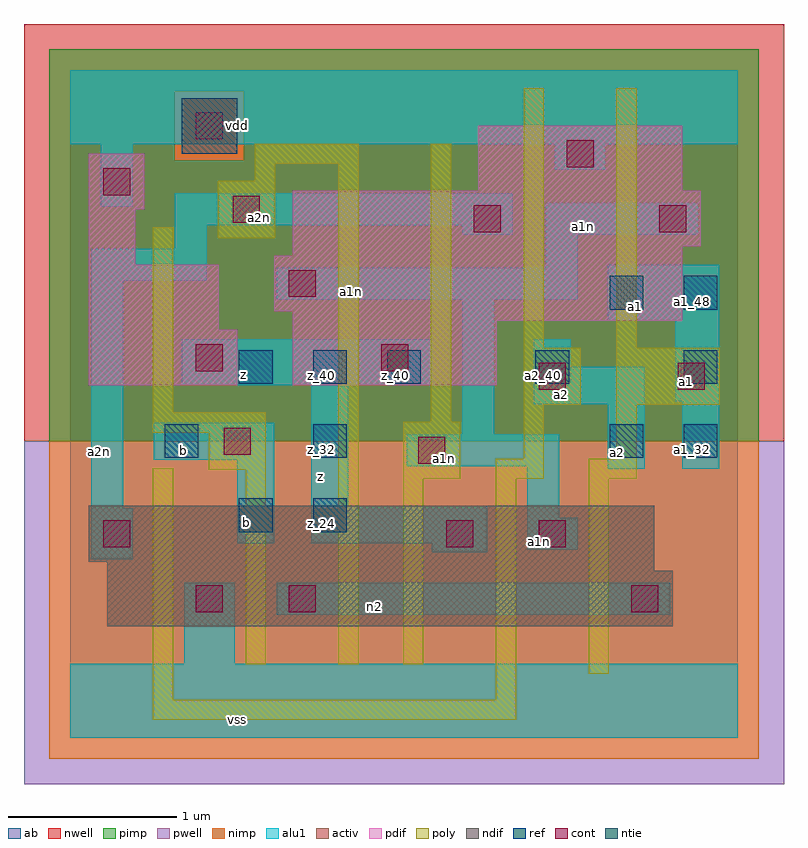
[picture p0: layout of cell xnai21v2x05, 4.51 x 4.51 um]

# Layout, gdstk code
import gdstk
lib = gdstk.Library(unit=1e-6, precision=2.5e-09)
def R(c, l, rs):  # rectangles x0, y0, x1, y1
    for r in rs: c.add(gdstk.rectangle(r[:2], r[2:], *l))
def A(c, l, x, y, w, h, nx, ny, dx, dy):  # array of equal rectangles
    R(c, l, [(x+i*dx, y+j*dy, x+i*dx+w, y+j*dy+h) for i in range(nx) for j in range(ny)])
ndif = (3, 0)
pdif = (4, 0)
ntie = (5, 0)
ref = (24, 0)
cont = (25, 0)
pwell = (41, 0)
nwell = (42, 0)
activ = (43, 0)
pimp = (44, 0)
nimp = (45, 0)
poly = (46, 0)
alu1 = (49, 0)
ab = (63, 0)

xnai21v2x05 = lib.new_cell('xnai21v2x05')
R(xnai21v2x05, ndif, [(0.22,0.66,3.575,0.99), (0.22,0.99,3.465,1.045), (0.11,1.045,3.465,1.375)])
R(xnai21v2x05, pdif, [(0.11,2.09,0.99,2.42), (1.32,2.09,2.53,2.475), (0.11,2.42,0.88,2.805), (1.32,2.475,3.63,2.53), (1.21,2.53,3.63,2.86), (0.11,2.805,0.385,3.135), (1.32,2.86,3.63,2.915), (1.32,2.915,3.74,3.245), (0.11,3.135,0.44,3.465), (2.42,3.245,3.63,3.63)])
R(xnai21v2x05, ntie, [(0.66,3.465,0.99,3.795)])
A(xnai21v2x05, ref, 3.64, 1.66, 0.2, 0.2, 1, 3, 0, 0.44)
A(xnai21v2x05, ref, 1, 2.1, 0.2, 0.2, 3, 1, 0.44, 0)
R(xnai21v2x05, ref, [(1,1.22,1.2,1.42), (1.44,1.22,1.64,1.42), (0.56,1.66,0.76,1.86), (1.44,1.66,1.64,1.86), (3.2,1.66,3.4,1.86), (2.76,2.1,2.96,2.3), (3.2,2.54,3.4,2.74)])
R(xnai21v2x05, cont, [(0.745,0.745,0.905,0.905), (1.295,0.745,1.455,0.905), (3.33,0.745,3.49,0.905), (0.195,1.13,0.355,1.29), (2.23,1.13,2.39,1.29), (2.78,1.13,2.94,1.29), (2.065,1.625,2.225,1.785), (0.91,1.68,1.07,1.84), (2.78,2.065,2.94,2.225), (3.605,2.065,3.765,2.225), (0.745,2.175,0.905,2.335), (1.845,2.175,2.005,2.335), (1.295,2.615,1.455,2.775), (2.395,3,2.555,3.16), (3.495,3,3.655,3.16), (0.965,3.055,1.125,3.215), (0.195,3.22,0.355,3.38), (2.945,3.385,3.105,3.545), (0.745,3.55,0.905,3.71)])
R(xnai21v2x05, pwell, [(-0.275,-0.275,4.235,1.76)])
R(xnai21v2x05, nwell, [(-0.275,1.76,4.235,4.235)])
R(xnai21v2x05, activ, [(0.22,0.66,3.575,0.99), (0.22,0.99,3.465,1.045), (0.11,1.045,3.465,1.375), (0.11,2.09,0.99,2.42), (1.32,2.09,2.53,2.475), (0.11,2.42,0.88,2.805), (1.32,2.475,3.63,2.53), (1.21,2.53,3.63,2.86), (0.11,2.805,0.385,3.135), (1.32,2.86,3.63,2.915), (1.32,2.915,3.74,3.245), (0.11,3.135,0.44,3.465), (2.42,3.245,3.63,3.63), (0.66,3.465,0.99,3.795)])
R(xnai21v2x05, pimp, [(-0.125,1.76,4.085,3.425), (-0.125,3.425,0.62,3.835), (1.03,3.425,4.085,3.835), (-0.125,3.835,4.085,4.085)])
R(xnai21v2x05, nimp, [(-0.125,-0.125,4.085,1.76), (0.62,3.425,1.03,3.835)])
R(xnai21v2x05, poly, [(0.49,0.105,2.645,0.225), (0.49,0.225,0.61,1.6), (2.525,0.225,2.645,1.535), (3.075,0.38,3.195,1.535), (1.04,0.435,1.16,1.59), (1.59,0.435,1.71,3.405), (1.975,0.435,2.095,1.535), (1.975,1.535,2.315,1.875), (2.525,1.535,2.81,1.655), (3.075,1.535,3.36,1.655), (0.82,1.59,1.16,1.81), (2.69,1.655,2.81,1.975), (3.24,1.655,3.36,1.975), (0.49,1.81,1.16,1.93), (2.14,1.875,2.26,3.525), (0.49,1.93,0.61,3.03), (2.69,1.975,3.03,2.315), (3.24,1.975,3.855,2.315), (2.69,2.315,2.81,3.855), (3.24,2.315,3.36,3.855), (0.875,2.965,1.215,3.305), (1.095,3.305,1.215,3.405), (1.095,3.405,1.71,3.525)])
R(xnai21v2x05, alu1, [(0,0,3.96,0.44), (0.675,0.44,0.975,0.92), (1.225,0.73,3.56,0.92), (0.125,1.06,0.37,1.36), (2.145,1.1,2.475,1.155), (2.71,1.115,3.01,1.305), (0.99,1.155,1.21,1.65), (1.43,1.155,2.475,1.375), (2.71,1.305,2.9,1.61), (0.125,1.36,0.315,2.71), (1.43,1.375,1.65,2.09), (3.19,1.595,3.41,1.98), (3.63,1.595,3.85,1.995), (1.995,1.61,2.9,1.8), (0.495,1.65,1.21,1.87), (2.325,1.8,2.515,2.6), (2.75,1.98,3.41,2.2), (3.59,1.995,3.85,2.475), (0.66,2.09,2.145,2.365), (2.75,2.2,2.97,2.365), (3.19,2.475,3.85,2.805), (1.225,2.6,3.01,2.79), (0.125,2.71,0.81,2.9), (2.82,2.79,3.01,2.985), (0.62,2.9,0.81,3.04), (2.325,2.985,2.625,3.04), (2.82,2.985,3.725,3.175), (0.62,3.04,2.625,3.23), (0.18,3.15,0.37,3.52), (2.875,3.37,3.175,3.52), (0,3.52,3.96,3.96)])
R(xnai21v2x05, ab, [(0,0,3.96,3.96)])
xnai21v2x05.add(gdstk.Label('vss', (0.99,0.11), layer=49, texttype=0))
xnai21v2x05.add(gdstk.Label('n2', (1.8075,0.7775), layer=49, texttype=0))
xnai21v2x05.add(gdstk.Label('a1n', (2.785,1.1625), layer=49, texttype=0))
xnai21v2x05.add(gdstk.Label('a2', (3.245,1.69), layer=49, texttype=0))
xnai21v2x05.add(gdstk.Label('a1n', (2.22,1.6575), layer=49, texttype=0))
xnai21v2x05.add(gdstk.Label('a1', (3.655,2.115), layer=49, texttype=0))
xnai21v2x05.add(gdstk.Label('a2', (2.915,2.035), layer=49, texttype=0))
xnai21v2x05.add(gdstk.Label('a1', (3.355,2.5575), layer=49, texttype=0))
xnai21v2x05.add(gdstk.Label('z', (1.485,1.5525), layer=49, texttype=0))
xnai21v2x05.add(gdstk.Label('b', (1.045,1.2775), layer=49, texttype=0))
xnai21v2x05.add(gdstk.Label('b', (0.6725,1.705), layer=49, texttype=0))
xnai21v2x05.add(gdstk.Label('z', (1.03,2.1575), layer=49, texttype=0))
xnai21v2x05.add(gdstk.Label('a1n', (1.67,2.6475), layer=49, texttype=0))
xnai21v2x05.add(gdstk.Label('a2n', (0.1725,1.6975), layer=49, texttype=0))
xnai21v2x05.add(gdstk.Label('a1n', (3.045,3.0325), layer=49, texttype=0))
xnai21v2x05.add(gdstk.Label('a2n', (1.12,3.0875), layer=49, texttype=0))
xnai21v2x05.add(gdstk.Label('vdd', (0.99,3.63), layer=49, texttype=0))
xnai21v2x05.add(gdstk.Label('z_32', (1.49,1.71), layer=24, texttype=0))
xnai21v2x05.add(gdstk.Label('b_24', (1.05,1.27), layer=24, texttype=0))
xnai21v2x05.add(gdstk.Label('a1_48', (3.69,2.59), layer=24, texttype=0))
xnai21v2x05.add(gdstk.Label('b_32', (0.61,1.71), layer=24, texttype=0))
xnai21v2x05.add(gdstk.Label('a1_40', (3.69,2.15), layer=24, texttype=0))
xnai21v2x05.add(gdstk.Label('a2_40', (2.81,2.15), layer=24, texttype=0))
xnai21v2x05.add(gdstk.Label('a1_32', (3.69,1.71), layer=24, texttype=0))
xnai21v2x05.add(gdstk.Label('z_40', (1.49,2.15), layer=24, texttype=0))
xnai21v2x05.add(gdstk.Label('z_40', (1.93,2.15), layer=24, texttype=0))
xnai21v2x05.add(gdstk.Label('z_40', (1.05,2.15), layer=24, texttype=0))
xnai21v2x05.add(gdstk.Label('a2_32', (3.25,1.71), layer=24, texttype=0))
xnai21v2x05.add(gdstk.Label('a1_48', (3.25,2.59), layer=24, texttype=0))
xnai21v2x05.add(gdstk.Label('z_24', (1.49,1.27), layer=24, texttype=0))

lib.write_gds('xnai21v2x05.gds')
